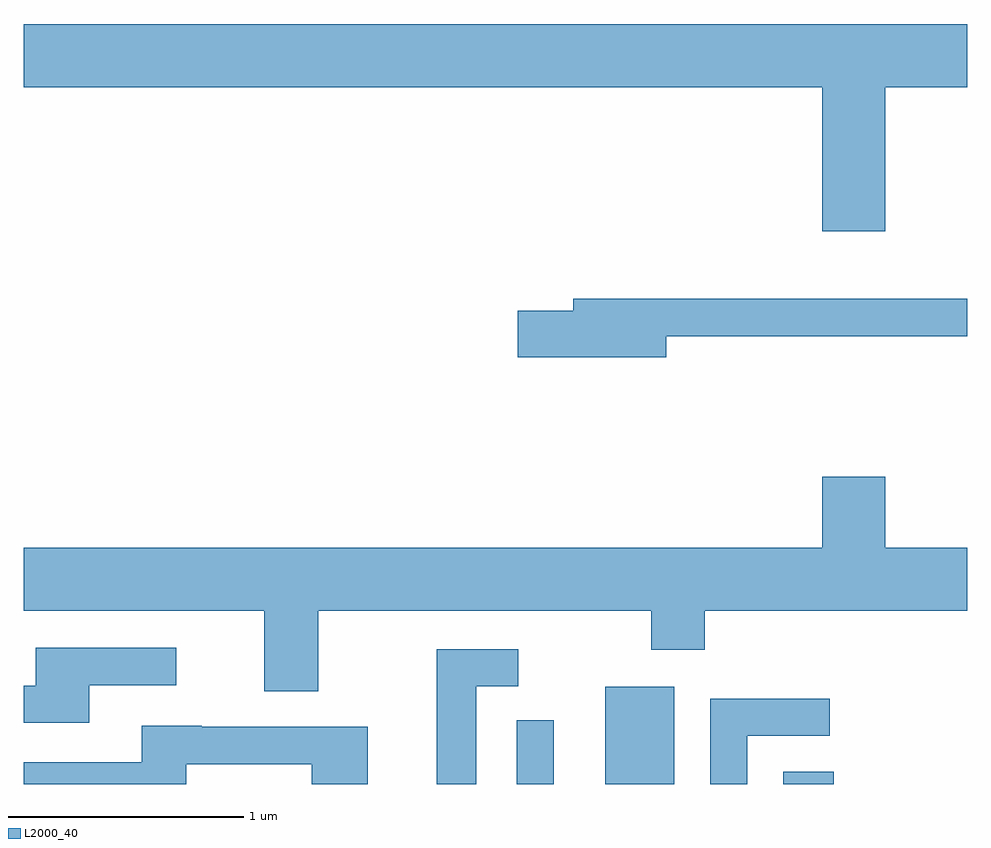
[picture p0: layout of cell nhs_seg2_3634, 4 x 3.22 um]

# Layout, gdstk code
import gdstk
lib = gdstk.Library(unit=1e-6, precision=1e-09)
def R(c, l, rs):  # rectangles x0, y0, x1, y1
    for r in rs: c.add(gdstk.rectangle(r[:2], r[2:], *l))
def P(c, l, *ps):  # polygons
    for p in ps: c.add(gdstk.Polygon(p, *l))
L2000_40 = (2000, 40)

nhs_seg2_3634 = lib.new_cell('nhs_seg2_3634')
R(nhs_seg2_3634, L2000_40, [(293.701,1049.802,293.859,1050.073), (294.076,1049.802,294.369,1050.214), (294.831,1049.802,295.044,1049.854)])
P(nhs_seg2_3634, L2000_40, [(295.264,1052.756),(295.611,1052.756),(295.611,1053.024),(291.611,1053.024),(291.611,1052.756),(294.996,1052.756),(294.996,1052.146),(295.264,1052.146)],
  [(294.334,1051.701),(295.611,1051.701),(295.611,1051.859),(293.941,1051.859),(293.941,1051.809),(293.706,1051.809),(293.706,1051.611),(294.334,1051.611)],
  [(292.859,1050.536),(294.271,1050.536),(294.271,1050.371),(294.499,1050.371),(294.499,1050.536),(295.611,1050.536),(295.611,1050.804),(295.264,1050.804),(295.264,1051.104),(294.996,1051.104),(294.996,1050.804),(291.611,1050.804),(291.611,1050.536),(292.631,1050.536),(292.631,1050.196),(292.859,1050.196)],
  [(291.889,1050.221),(292.258,1050.221),(292.258,1050.379),(291.661,1050.379),(291.661,1050.219),(291.611,1050.219),(291.611,1050.061),(291.889,1050.061)],
  [(293.529,1050.216),(293.708,1050.216),(293.708,1050.374),(293.361,1050.374),(293.361,1049.802),(293.529,1049.802)],
  [(294.679,1050.006),(295.028,1050.006),(295.028,1050.164),(294.521,1050.164),(294.521,1049.802),(294.679,1049.802)],
  [(292.299,1049.886),(292.831,1049.886),(292.831,1049.802),(293.069,1049.802),(293.069,1050.044),(292.365,1050.044),(292.365,1050.049),(292.111,1050.049),(292.111,1049.894),(291.611,1049.894),(291.611,1049.802),(292.299,1049.802)])

lib.write_gds('nhs_seg2_3634.gds')
